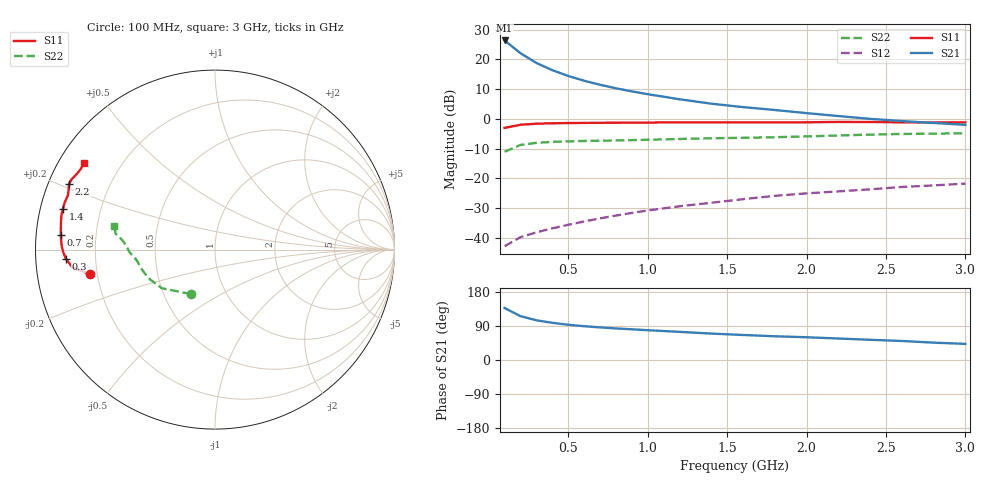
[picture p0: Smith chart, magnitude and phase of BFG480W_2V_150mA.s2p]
! Filename: 2150BFG480.001
! Title: BFG480W
! Bias: Vce=2V; Ic=150mA
! Company: Philips Semiconductors NL
! User: Quality&Reliability T&D
! Measure time: 10 Nov 1999 / 11:55:59
#  MHz  S  MA  R 50
! Freq  S11  S21  S12  S22  :
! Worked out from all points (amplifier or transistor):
!   20 points, 100 MHz to 3 GHz, reference 50 ohm
!   highest |S21| = 26.4 dB at 100 MHz (marker M1)
!   |S21| within 3 dB of that: start of sweep to 169.9 MHz
!   unconditionally stable (mu >= 1): start of sweep to end of sweep
!   at 400 MHz: K = 1.53, MAG = 22.3 dB, |S12| = -36.8 dB
!   at 1.2 GHz: K = 1.65, MAG = 13.3 dB, |S12| = -29.3 dB
!   at 3 GHz: K = 1.69, MAG = 5.0 dB, |S12| = -21.7 dB
!   S11 on the Smith chart (normalised r, x): 100 MHz: 0.17, -0.10; 300 MHz: 0.09, -0.03; 700 MHz: 0.07, +0.05; 1.4 GHz: 0.07, +0.13; 2.2 GHz: 0.06, +0.21; 3 GHz: 0.07, +0.30
100  0.7083 -168.8  20.89 137.2  0.007285 56.5  0.2812 -118.3
200  0.8004 -172.9  12.75 115.6  0.01032 52.5  0.3664 -144.0
300  0.8333 -176.5  8.741 104.8  0.01241 55.1  0.3971 -155.0
400  0.8468 -179.3  6.618 98.1  0.01451 58.5  0.4124 -160.9
500  0.855 178.5  5.284 93.1  0.01665 61.6  0.4211 -164.5
600  0.859 176.5  4.397 89.2  0.01894 63.8  0.4269 -167.0
700  0.8623 174.7  3.762 86.1  0.02134 66.2  0.4313 -169.0
800  0.8653 173.1  3.282 83.3  0.0238 67.9  0.4356 -170.8
900  0.8681 171.5  2.913 81.0  0.02635 69.6  0.4412 -172.3
1000  0.8715 170.0  2.613 78.7  0.02901 70.5  0.4474 -173.8
1200  0.8768 167.3  2.147 74.3  0.0341 71.9  0.4617 -176.1
1400  0.8778 164.9  1.809 69.8  0.03907 72.5  0.4742 -177.9
1600  0.8773 162.4  1.584 66.1  0.04489 73.0  0.4829 -179.8
1800  0.8735 159.8  1.417 62.6  0.05108 73.1  0.4936 177.8
2000  0.8801 157.8  1.255 60.0  0.05624 73.7  0.509 175.4
2200  0.8918 155.9  1.121 56.7  0.0607 73.5  0.5283 173.3
2400  0.8901 153.9  1.005 53.3  0.06569 72.8  0.547 172.0
2600  0.8796 151.8  0.9227 50.2  0.07207 71.8  0.5601 170.9
2800  0.8724 149.2  0.8565 45.8  0.07652 70.2  0.567 169.3
3000  0.8756 146.5  0.7981 42.6  0.08198 69.3  0.576 166.8
